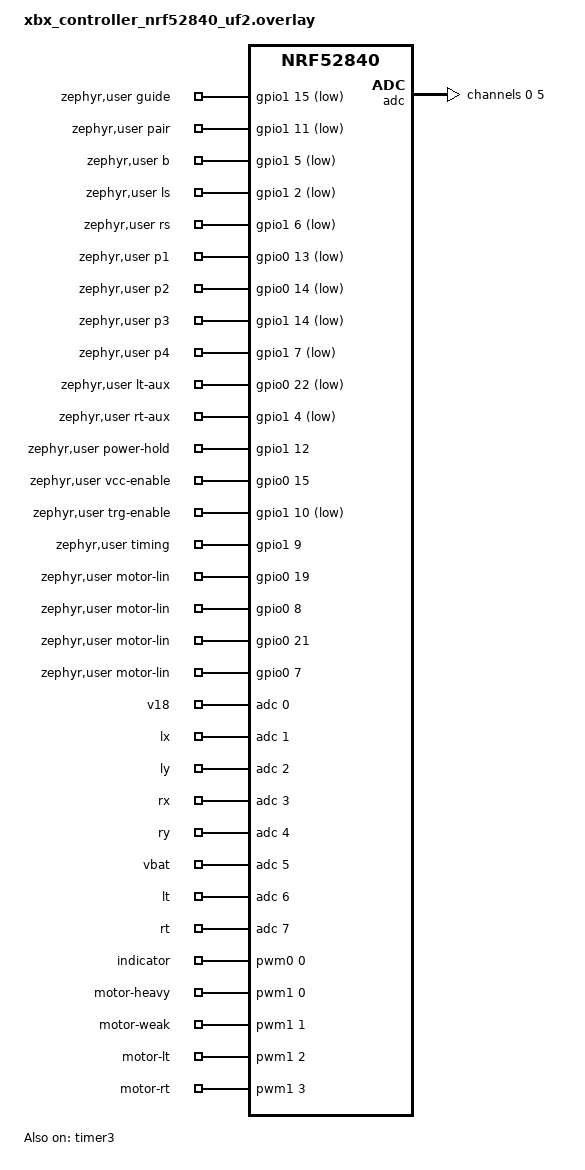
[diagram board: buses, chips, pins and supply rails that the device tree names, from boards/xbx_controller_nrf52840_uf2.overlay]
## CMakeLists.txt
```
cmake_minimum_required(VERSION 3.20.0)

# Board-independent USB functions (app.overlay is ignored when board overlays exist)
list(APPEND EXTRA_DTC_OVERLAY_FILE ${CMAKE_CURRENT_LIST_DIR}/usb.overlay)

find_package(Zephyr REQUIRED HINTS $ENV{ZEPHYR_BASE})
project(xbx_controller)

include(../common/build_id.cmake)
xbx_build_id(controller)

target_sources(app PRIVATE src/main.c src/battery.c src/pair.c src/power.c src/rumble.c src/usb.c src/xinput_wired.c ../common/src/config_usb.c ../common/src/hid_pad.c ../common/src/hid_pid.c)
target_compile_definitions(app PRIVATE XBX_DEVICE=XBX_DEVICE_CONTROLLER) # image marker
zephyr_linker_sources(RODATA ../common/image_marker.ld)
target_sources_ifndef(CONFIG_XBX_FAKE_INPUT app PRIVATE src/input.c src/calib.c src/config.c src/configurator.c src/trigger_fx.c)
dt_nodelabel(pcal6416 NODELABEL pcal6416)
if(pcal6416 AND NOT CONFIG_XBX_FAKE_INPUT)
  target_sources(app PRIVATE src/pcal6416.c)
endif()
target_include_directories(app PRIVATE ${CMAKE_CURRENT_SOURCE_DIR}/../common/include)
```

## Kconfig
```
menu "xbx-nrf controller"

config XBX_WIRED
	bool "Wired mode: be a USB gamepad while a PC has the device configured"
	default y if !XBX_FAKE_INPUT
	help
	  The radio pauses while wired; a charger alone doesn't count. Turn off
	  to test the wireless link with the USB console attached (off by
	  default with the fake input, which is for link tests).

config XBX_USB_CONSOLE
	bool "USB serial console as a composite function"
	default y
	help
	  Adds the CDC ACM serial port (log console) next to the wired-mode
	  gamepad on the controller's USB device. On for development builds.

config XBX_TX_LEAD_US
	int "Report preparation lead before the time slot (us)"
	range 100 400
	default 400
	help
	  The TX thread reads the inputs and queues the report this long
	  before its slot; the timer interrupt at the slot only starts the
	  transmission, so the send time doesn't depend on how long that work
	  took. Too short: reports miss their slot ("late" in the stats).
	  Longer: the inputs are that much older when sent. Measured on Rev1.1:
	  ~245 us typical, up to ~335 us (USB activity).

config XBX_FAKE_INPUT
	bool "Send a test pattern instead of real input"
	help
	  Sticks circle slowly, triggers ramp, and random buttons are pressed
	  and released at random intervals (seeded from the chip ID, so two
	  controllers differ). Needs no input hardware (link tests).

config XBX_LSTICK_INVERT_Y
	bool "Invert the left stick Y axis"
	depends on !XBX_FAKE_INPUT
	help
	  Report convention: up = positive. Set if the stick reads the wrong
	  way round (X: right = positive, no option; add one if needed).

config XBX_RSTICK_INVERT_Y
	bool "Invert the right stick Y axis"
	depends on !XBX_FAKE_INPUT
	help
	  As XBX_LSTICK_INVERT_Y, for the right stick.

endmenu

source "Kconfig.zephyr"
```

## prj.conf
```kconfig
# Radio: Enhanced ShockBurst
CONFIG_ESB=y
CONFIG_ESB_MAX_PAYLOAD_LENGTH=32
CONFIG_CLOCK_CONTROL=y
CONFIG_ESB_CLOCK_INIT=y

CONFIG_GPIO=y
CONFIG_COUNTER=y

CONFIG_LOG=y

# Sticks and triggers on the SAADC, one asynchronous scan per tick; rumble
# (LEDs on the breadboard) on PWM
CONFIG_ADC=y
CONFIG_ADC_ASYNC=y
CONFIG_POLL=y
CONFIG_PWM=y

# Calibration storage: settings on NVS in the storage partition
CONFIG_FLASH=y
CONFIG_FLASH_MAP=y
CONFIG_NVS=y
CONFIG_SETTINGS=y
# pairing factory reset restarts the controller
CONFIG_REBOOT=y

# USB (wired mode): our own device (usb.c) instead of the board's
# CDC-ACM-at-boot device
CONFIG_USB_DEVICE_STACK_NEXT=y
CONFIG_CDC_ACM_SERIAL_INITIALIZE_AT_BOOT=n
CONFIG_HWINFO=y
CONFIG_USBD_HID_SUPPORT=y
# the ~570-byte HID report descriptor (with PID) goes out in one control transfer
CONFIG_UDC_BUF_POOL_SIZE=2048
```

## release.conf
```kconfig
# Release builds (build.sh -r): wired gamepad only, no serial function, no logs.
CONFIG_XBX_USB_CONSOLE=n
CONFIG_LOG=n
CONFIG_NCS_BOOT_BANNER=n
CONFIG_BOOT_BANNER=n
CONFIG_PRINTK=n
CONFIG_CONSOLE=n
CONFIG_UART_CONSOLE=n
```

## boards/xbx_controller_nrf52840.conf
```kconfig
# PCAL6416 buttons: raw I2C reads (pcal6416.c), not Zephyr's GPIO driver
CONFIG_I2C=y
CONFIG_GPIO_PCAL64XXA=n

# Stick Y reads higher downwards (stock pots; recheck on the TMR sticks)
CONFIG_XBX_LSTICK_INVERT_Y=y
CONFIG_XBX_RSTICK_INVERT_Y=y
```

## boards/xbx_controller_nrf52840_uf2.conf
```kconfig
# PCAL6416 buttons: raw I2C reads (pcal6416.c), not Zephyr's GPIO driver;
# asynchronous through RTIO (the TWIM's RTIO driver), waits sleep on semaphores
CONFIG_I2C=y
CONFIG_GPIO_PCAL64XXA=n
CONFIG_I2C_RTIO=y
CONFIG_RTIO_CONSUME_SEM=y
CONFIG_RTIO_SUBMIT_SEM=y

# power-off on USB power (power.c)
CONFIG_POWEROFF=y

# Stick Y reads higher downwards (stock pots; recheck on the TMR sticks)
CONFIG_XBX_LSTICK_INVERT_Y=y
CONFIG_XBX_RSTICK_INVERT_Y=y
```

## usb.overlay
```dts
/*
 * Board-independent USB functions for wired mode, added to every build via
 * EXTRA_DTC_OVERLAY_FILE in CMakeLists.txt (app.overlay would be ignored,
 * because board overlays exist). Same reports as the dongle's HID mode.
 */

&zephyr_udc0 {
	hid_dev_0: hid_dev_0 {
		compatible = "zephyr,hid-device";
		label = "XBX-NRF Gamepad";
		protocol-code = "none";
		in-report-size = <17>;
		in-polling-period-us = <1000>;
		/*
		 * Also the OUT endpoint's max packet size: keep it above every output
		 * report so each one is a short packet that ends its transfer.
		 */
		out-report-size = <64>;
		out-polling-period-us = <1000>; /* PID uploads send several reports in a row */
	};

	/* configurator channel (config_usb.c) */
	hid_dev_1: hid_dev_1 {
		compatible = "zephyr,hid-device";
		label = "XBX-NRF Config";
		protocol-code = "none";
		in-report-size = <64>;
		in-polling-period-us = <10000>;
		out-report-size = <64>;
		out-polling-period-us = <10000>;
	};
};
```

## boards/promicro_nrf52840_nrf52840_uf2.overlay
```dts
/*
 * Pro Micro nRF52840 (nice!nano clone) breadboard controller.
 *
 * Buttons connect the pin to GND (internal pull-up). The left stick's pots
 * run from VCC to GND with the wipers on AIN0/AIN5. Rumble LEDs: heavy =
 * on-board LED (P0.15), weak = P0.31 → resistor → LED → GND.
 *
 * All 18 header GPIOs are used, so the board's I2C and UART pins are freed
 * (the console is USB CDC ACM) and the scope timing pin is gone. Pair: the
 * sideways pin P1.01 to GND (also on the fake-input board); the on-board LED
 * blinks while pairing.
 */

#include <zephyr/dt-bindings/adc/nrf-saadc.h>

#define BTN(port, pin) <&gpio##port pin (GPIO_ACTIVE_LOW | GPIO_PULL_UP)>

/ {
	zephyr,user {
		a-gpios = BTN(0, 6);
		b-gpios = BTN(0, 8);
		x-gpios = BTN(0, 20);
		y-gpios = BTN(0, 22);
		lb-gpios = BTN(0, 24);
		rb-gpios = BTN(1, 15);
		view-gpios = BTN(1, 13);
		menu-gpios = BTN(1, 11);
		dpad-up-gpios = BTN(1, 4);
		dpad-down-gpios = BTN(1, 6);
		dpad-left-gpios = BTN(0, 9);
		dpad-right-gpios = BTN(0, 10);
		pair-gpios = BTN(1, 1);
		ls-gpios = BTN(0, 17);
		lt-gpios = BTN(1, 0);
		rt-gpios = BTN(0, 11);

		/*
		 * Switched VCC pin. Active-high as on the nice!nano v2; if VCC
		 * measures 0 V, change to GPIO_ACTIVE_LOW.
		 */
		vcc-enable-gpios = <&gpio0 13 GPIO_ACTIVE_HIGH>;

		io-channels = <&adc 0>, <&adc 1>;
		io-channel-names = "lx", "ly";

		/* LEDs are active-high: normal polarity */
		pwms = <&pwm0 0 PWM_USEC(1000) PWM_POLARITY_NORMAL>,
		       <&pwm0 1 PWM_USEC(1000) PWM_POLARITY_NORMAL>,
		       <&pwm0 0 PWM_USEC(1000) PWM_POLARITY_NORMAL>;
		/* the heavy LED doubles as the pairing indicator */
		pwm-names = "heavy", "weak", "indicator";
	};
};

/* Ratiometric: gain 1/4 with a VDD/4 reference reads 0..VDD */
&adc {
	#address-cells = <1>;
	#size-cells = <0>;

	channel@0 {
		reg = <0>;
		zephyr,gain = "ADC_GAIN_1_4";
		zephyr,reference = "ADC_REF_VDD_1_4";
		zephyr,acquisition-time = <ADC_ACQ_TIME_DEFAULT>;
		zephyr,input-positive = <NRF_SAADC_AIN0>; /* P0.02 */
		zephyr,resolution = <12>;
	};

	channel@1 {
		reg = <1>;
		zephyr,gain = "ADC_GAIN_1_4";
		zephyr,reference = "ADC_REF_VDD_1_4";
		zephyr,acquisition-time = <ADC_ACQ_TIME_DEFAULT>;
		zephyr,input-positive = <NRF_SAADC_AIN5>; /* P0.29 */
		zephyr,resolution = <12>;
	};
};

&pwm0_default {
	group1 {
		psels = <NRF_PSEL(PWM_OUT0, 0, 15)>,
			<NRF_PSEL(PWM_OUT1, 0, 31)>;
	};
};

&pwm0_sleep {
	group1 {
		psels = <NRF_PSEL(PWM_OUT0, 0, 15)>,
			<NRF_PSEL(PWM_OUT1, 0, 31)>;
		low-power-enable;
	};
};

/* their pins are buttons here (M3 brings I2C back for the PCAL6416) */
&i2c0 {
	status = "disabled";
};

&i2c1 {
	status = "disabled";
};

&uart0 {
	status = "disabled";
};

/* 1 kHz report timer (TIMER2 is used by ESB) */
&timer3 {
	status = "okay";
};
```

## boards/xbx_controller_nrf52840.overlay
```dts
/*
 * xbx-nrf controller (custom board, boards/xbx/xbx_controller/). Buttons on
 * GPIOs here, the rest on the PCAL6416 (board node pcal6416); sticks and
 * triggers on the SAADC (docs/hardware.md, "Analog inputs"); rumble on pwm1.
 * The board's console is the J3 UART; the app moves it to a USB serial
 * function, as on the Pro Micro.
 */

#include <zephyr/dt-bindings/adc/nrf-saadc.h>
#include <../boards/common/usb/cdc_acm_serial.dtsi>

/ {
	zephyr,user {
		/* no pull-ups on the board: Guide, Pair via diodes, B/LS/RS via 1 kΩ */
		guide-gpios = <&gpio1 15 (GPIO_ACTIVE_LOW | GPIO_PULL_UP)>;
		pair-gpios = <&gpio1 11 (GPIO_ACTIVE_LOW | GPIO_PULL_UP)>;
		b-gpios = <&gpio1 5 (GPIO_ACTIVE_LOW | GPIO_PULL_UP)>;
		ls-gpios = <&gpio1 2 (GPIO_ACTIVE_LOW | GPIO_PULL_UP)>;
		rs-gpios = <&gpio1 6 (GPIO_ACTIVE_LOW | GPIO_PULL_UP)>;

		/* J2 pin 9 (board gpio-hog raises it); low = off once Guide is up */
		power-hold-gpios = <&gpio1 12 GPIO_ACTIVE_HIGH>;

		/* 1V8_STICK (U4 EN, 100 kΩ pull-down): on while running */
		vcc-enable-gpios = <&gpio0 15 GPIO_ACTIVE_HIGH>;

		/* TRG+ (Q1 gate, pull-up): on around each sample */
		trg-enable-gpios = <&gpio1 10 GPIO_ACTIVE_LOW>;

		/* channel n = AINn */
		io-channels = <&adc 0>, <&adc 1>, <&adc 2>, <&adc 3>, <&adc 4>,
			      <&adc 5>, <&adc 6>, <&adc 7>;
		io-channel-names = "v18", "rt", "ly", "lx", "lt", "ry", "vbat", "rx";

		/* scope timing pin (TP4) */
		timing-gpios = <&gpio1 9 GPIO_ACTIVE_HIGH>;

		/*
		 * pairing indicator: the Guide LED; outside pairing solid while
		 * linked, slow blink while searching
		 */
		pwms = <&pwm0 0 PWM_MSEC(1) PWM_POLARITY_NORMAL>,
		       <&pwm1 0 PWM_USEC(40) PWM_POLARITY_NORMAL>,
		       <&pwm1 1 PWM_USEC(40) PWM_POLARITY_NORMAL>,
		       <&pwm1 2 PWM_USEC(40) PWM_POLARITY_NORMAL>,
		       <&pwm1 3 PWM_USEC(40) PWM_POLARITY_NORMAL>;
		pwm-names = "indicator", "motor-heavy", "motor-weak", "motor-lt",
			    "motor-rt";
		indicator-idle;

		/* rumble: HIN above at 25 kHz (A3910 needs >= 20 kHz), LIN here */
		motor-lin-gpios = <&gpio0 19 GPIO_ACTIVE_HIGH>,
				  <&gpio0 8 GPIO_ACTIVE_HIGH>,
				  <&gpio0 21 GPIO_ACTIVE_HIGH>,
				  <&gpio0 7 GPIO_ACTIVE_HIGH>;
	};
};

/*
 * Sticks: internal 0.6 V reference, gain 1/3 (0..1.8 V), read as a ratio to
 * v18 (gain 1/4, so 1.8 V doesn't clip; input.c's RAIL_GAIN_*). Triggers:
 * VDD/4 reference, gain 1/4 (0..VDD, ratiometric like the A1304).
 */
#define STICK_CH(n)                                                               \
	channel@n {                                                               \
		reg = <n>;                                                        \
		zephyr,gain = "ADC_GAIN_1_3";                                     \
		zephyr,reference = "ADC_REF_INTERNAL";                            \
		zephyr,acquisition-time = <ADC_ACQ_TIME_DEFAULT>;                 \
		zephyr,input-positive = <NRF_SAADC_AIN##n>;                       \
		zephyr,resolution = <12>;                                         \
	}

#define TRIGGER_CH(n)                                                             \
	channel@n {                                                               \
		reg = <n>;                                                        \
		zephyr,gain = "ADC_GAIN_1_4";                                     \
		zephyr,reference = "ADC_REF_VDD_1_4";                             \
		zephyr,acquisition-time = <ADC_ACQ_TIME_DEFAULT>;                 \
		zephyr,input-positive = <NRF_SAADC_AIN##n>;                       \
		zephyr,resolution = <12>;                                         \
	}

&adc {
	#address-cells = <1>;
	#size-cells = <0>;

	/* 1V8_STICK */
	channel@0 {
		reg = <0>;
		zephyr,gain = "ADC_GAIN_1_4";
		zephyr,reference = "ADC_REF_INTERNAL";
		zephyr,acquisition-time = <ADC_ACQ_TIME_DEFAULT>;
		zephyr,input-positive = <NRF_SAADC_AIN0>;
		zephyr,resolution = <12>;
	};

	TRIGGER_CH(1); /* RT */
	STICK_CH(2);   /* LS_Y */
	STICK_CH(3);   /* LS_X */
	TRIGGER_CH(4); /* LT */
	STICK_CH(5);   /* RS_Y */
	STICK_CH(7);   /* RS_X */

	/* VBAT (3v/B+): 0..3.6 V, read alone by battery.c */
	channel@6 {
		reg = <6>;
		zephyr,gain = "ADC_GAIN_1_6";
		zephyr,reference = "ADC_REF_INTERNAL";
		zephyr,acquisition-time = <ADC_ACQ_TIME_DEFAULT>;
		zephyr,input-positive = <NRF_SAADC_AIN6>;
		zephyr,resolution = <12>;
	};
};

/* 1 kHz report timer (TIMER2 is used by ESB) */
&timer3 {
	status = "okay";
};
```

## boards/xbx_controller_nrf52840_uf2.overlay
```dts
/*
 * xbx-nrf controller (custom board, boards/xbx/xbx_controller/). Buttons on
 * GPIOs here, the rest on the PCAL6416 (board node pcal6416); sticks and
 * triggers on the SAADC (docs/hardware.md, "Analog inputs"); rumble on pwm1.
 * The board's console is the J3 UART; the app moves it to a USB serial
 * function, as on the Pro Micro.
 */

#include <zephyr/dt-bindings/adc/nrf-saadc.h>
#include <../boards/common/usb/cdc_acm_serial.dtsi>

/ {
	zephyr,user {
		/* no pull-ups on the board: Guide, Pair via diodes, B/LS/RS via 1 kΩ */
		guide-gpios = <&gpio1 15 (GPIO_ACTIVE_LOW | GPIO_PULL_UP)>;
		pair-gpios = <&gpio1 11 (GPIO_ACTIVE_LOW | GPIO_PULL_UP)>;
		b-gpios = <&gpio1 5 (GPIO_ACTIVE_LOW | GPIO_PULL_UP)>;
		ls-gpios = <&gpio1 2 (GPIO_ACTIVE_LOW | GPIO_PULL_UP)>;
		rs-gpios = <&gpio1 6 (GPIO_ACTIVE_LOW | GPIO_PULL_UP)>;

		/*
		 * switch pads to GND, nothing fitted yet. Paddles, held face-up:
		 * P1 left upper, P2 left lower, P3 right upper, P4 right lower.
		 */
		p1-gpios = <&gpio0 13 (GPIO_ACTIVE_LOW | GPIO_PULL_UP)>; /* AUX2, TP10 */
		p2-gpios = <&gpio0 14 (GPIO_ACTIVE_LOW | GPIO_PULL_UP)>; /* AUX1, TP9 */
		p3-gpios = <&gpio1 14 (GPIO_ACTIVE_LOW | GPIO_PULL_UP)>; /* AUX3, TP11 */
		p4-gpios = <&gpio1 7 (GPIO_ACTIVE_LOW | GPIO_PULL_UP)>;  /* AUX4, TP12 */
		lt-aux-gpios = <&gpio0 22 (GPIO_ACTIVE_LOW | GPIO_PULL_UP)>;
		rt-aux-gpios = <&gpio1 4 (GPIO_ACTIVE_LOW | GPIO_PULL_UP)>;

		/* J2 pin 9 (board gpio-hog raises it); low = off once Guide is up */
		power-hold-gpios = <&gpio1 12 GPIO_ACTIVE_HIGH>;

		/* 1V8_STICK (U4 EN, 100 kΩ pull-down): on while running */
		vcc-enable-gpios = <&gpio0 15 GPIO_ACTIVE_HIGH>;

		/* TRG+ (Q1 gate, pull-up): on around each sample */
		trg-enable-gpios = <&gpio1 10 GPIO_ACTIVE_LOW>;

		/* channel n = AINn */
		io-channels = <&adc 0>, <&adc 1>, <&adc 2>, <&adc 3>, <&adc 4>,
			      <&adc 5>, <&adc 6>, <&adc 7>;
		io-channel-names = "v18", "lx", "ly", "rx", "ry", "vbat", "lt", "rt";

		/* scope timing pin (TP4) */
		timing-gpios = <&gpio1 9 GPIO_ACTIVE_HIGH>;

		/*
		 * pairing indicator: the Guide LED; outside pairing solid while
		 * linked, slow blink while searching
		 */
		pwms = <&pwm0 0 PWM_MSEC(1) PWM_POLARITY_NORMAL>,
		       <&pwm1 0 PWM_USEC(40) PWM_POLARITY_NORMAL>,
		       <&pwm1 1 PWM_USEC(40) PWM_POLARITY_NORMAL>,
		       <&pwm1 2 PWM_USEC(40) PWM_POLARITY_NORMAL>,
		       <&pwm1 3 PWM_USEC(40) PWM_POLARITY_NORMAL>;
		pwm-names = "indicator", "motor-heavy", "motor-weak", "motor-lt",
			    "motor-rt";
		indicator-idle;

		/* rumble: HIN above at 25 kHz (A3910 needs >= 20 kHz), LIN here */
		motor-lin-gpios = <&gpio0 19 GPIO_ACTIVE_HIGH>,
				  <&gpio0 8 GPIO_ACTIVE_HIGH>,
				  <&gpio0 21 GPIO_ACTIVE_HIGH>,
				  <&gpio0 7 GPIO_ACTIVE_HIGH>;
	};
};

/*
 * Sticks: internal 0.6 V reference, gain 1/3 (0..1.8 V), read as a ratio to
 * v18 (gain 1/4, so 1.8 V doesn't clip; input.c's RAIL_GAIN_*). Triggers:
 * VDD/4 reference, gain 1/4 (0..VDD, ratiometric like the A1304).
 *
 * One scan per tick, in channel (reg) order, all at 3 µs (~40 µs in all):
 * every input has 100 nF at the pin, which holds the sampling charge, so the
 * source impedance doesn't matter. The trigger supply comes on from a timer
 * alarm before the scan (the A1304 needs 50–70 µs: main.c's TRG_LEAD_US).
 */
#define ACQ_3US ADC_ACQ_TIME(ADC_ACQ_TIME_MICROSECONDS, 3)
#define STICK_CH(n, ain)                                                          \
	channel@n {                                                               \
		reg = <n>;                                                        \
		zephyr,gain = "ADC_GAIN_1_3";                                     \
		zephyr,reference = "ADC_REF_INTERNAL";                            \
		zephyr,acquisition-time = <ACQ_3US>;                              \
		zephyr,input-positive = <NRF_SAADC_AIN##ain>;                     \
		zephyr,resolution = <12>;                                         \
	}

#define TRIGGER_CH(n, ain)                                                        \
	channel@n {                                                               \
		reg = <n>;                                                        \
		zephyr,gain = "ADC_GAIN_1_4";                                     \
		zephyr,reference = "ADC_REF_VDD_1_4";                             \
		zephyr,acquisition-time = <ACQ_3US>;                              \
		zephyr,input-positive = <NRF_SAADC_AIN##ain>;                     \
		zephyr,resolution = <12>;                                         \
	}

&adc {
	#address-cells = <1>;
	#size-cells = <0>;

	/* 1V8_STICK */
	channel@0 {
		reg = <0>;
		zephyr,gain = "ADC_GAIN_1_4";
		zephyr,reference = "ADC_REF_INTERNAL";
		zephyr,acquisition-time = <ACQ_3US>;
		zephyr,input-positive = <NRF_SAADC_AIN0>;
		zephyr,resolution = <12>;
	};

	STICK_CH(1, 3); /* LS_X */
	STICK_CH(2, 2); /* LS_Y */
	STICK_CH(3, 7); /* RS_X */
	STICK_CH(4, 5); /* RS_Y */

	/* VBAT (3v/B+): 0..3.6 V, in the same scan (battery.c takes it) */
	channel@5 {
		reg = <5>;
		zephyr,gain = "ADC_GAIN_1_6";
		zephyr,reference = "ADC_REF_INTERNAL";
		zephyr,acquisition-time = <ACQ_3US>;
		zephyr,input-positive = <NRF_SAADC_AIN6>;
		zephyr,resolution = <12>;
	};

	TRIGGER_CH(6, 4); /* LT */
	TRIGGER_CH(7, 1); /* RT */
};

/* 1 kHz report timer (TIMER2 is used by ESB) */
&timer3 {
	status = "okay";
};
```

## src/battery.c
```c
/*
 * Battery monitoring (see battery.h). VBAT is sampled every SAMPLE_MS once the
 * motors have been off for SETTLE_MS (rumble sags it), and low-pass filtered.
 * The level comes from a typical 2× NiMH curve and only goes down while on
 * batteries (a battery change means a power cycle). Below EMPTY_MV for LOW_MS:
 * power off (not on USB).
 */

#include <zephyr/drivers/adc.h>
#include <zephyr/logging/log.h>
#include <hal/nrf_power.h>

#include "battery.h"
#include "input.h"
#include "power.h"
#include "rumble.h"

LOG_MODULE_REGISTER(battery, LOG_LEVEL_INF);

#define SAMPLE_MS  100
#define SETTLE_MS  300     /* after the motors stop */
#define RUMBLE_MIN_PCT 25  /* below: no rumble */
#define FILTER_SHIFT 4     /* ~1.6 s */
#define EMPTY_MV   2000    /* 1.0 V per NiMH cell */
#define LOW_MS     10000   /* below EMPTY_MV this long: power off */
#define SENSE_MIN_MV 1500  /* lower can't be running AAs: sense fault, ignore */

#define ZEPHYR_USER DT_PATH(zephyr_user)
/* read in input.c's scan: none with the fake input */
#define HAS_VBAT    (DT_PROP_HAS_NAME(ZEPHYR_USER, io_channels, vbat) && \
		     !IS_ENABLED(CONFIG_XBX_FAKE_INPUT))

#define UNKNOWN 0xFF

#if HAS_VBAT
static const struct adc_dt_spec vbat = ADC_DT_SPEC_GET_BY_NAME(ZEPHYR_USER, vbat);

/*
 * mV → %, linear between points: typical low self-discharge NiMH (Eneloop
 * class) at a light load, per cell ×2. Flat from 70 to 30 %: coarse there.
 */
static const struct {
	uint16_t mv;
	uint8_t pct;
} curve[] = {
	{EMPTY_MV, 0}, {2240, 5}, {2360, 15}, {2420, 30}, {2460, 50},
	{2500, 70}, {2540, 85}, {2600, 95}, {2720, 100},
};

static uint32_t mv_q4; /* filtered, mV << FILTER_SHIFT; 0 = no reading yet */
static uint32_t since_ms;
static uint32_t quiet_ms; /* motors off this long */
static uint32_t low_ms;
static uint8_t level = UNKNOWN;
static bool on_usb;
static bool fault_logged;

static uint8_t mv_to_pct(uint32_t mv)
{
	if (mv <= curve[0].mv) {
		return 0;
	}
	for (int i = 1; i < ARRAY_SIZE(curve); i++) {
		if (mv < curve[i].mv) {
			uint32_t span = curve[i].mv - curve[i - 1].mv;

			return curve[i - 1].pct +
			       (mv - curve[i - 1].mv) * (curve[i].pct - curve[i - 1].pct) / span;
		}
	}
	return 100;
}

/* the last scan's value (the channel's gain and reference: the overlay) */
static int read_mv(int32_t *mv)
{
	int16_t raw;

	if (!input_vbat_raw(&raw)) {
		return -ENODATA;
	}
	*mv = raw;
	return adc_raw_to_millivolts_dt(&vbat, mv);
}
#endif

int battery_init(void)
{
#if HAS_VBAT
	/* the channel is set up by input.c, which scans it */
	return adc_is_ready_dt(&vbat) ? 0 : -ENODEV;
#else
	return 0;
#endif
}

uint8_t battery_tick(uint32_t elapsed_ms)
{
#if HAS_VBAT
	int32_t mv;
	bool usb = nrf_power_usbregstatus_vbusdet_get(NRF_POWER);

	if (usb != on_usb) {
		/* the rail changed source: start over */
		on_usb = usb;
		mv_q4 = 0;
		low_ms = 0;
		level = UNKNOWN;
	}
	quiet_ms = rumble_active() ? 0 : MIN(quiet_ms + elapsed_ms, SETTLE_MS);
	since_ms += elapsed_ms;
	if (since_ms < SAMPLE_MS || quiet_ms < SETTLE_MS) {
		return level;
	}
	since_ms = 0;

	if (read_mv(&mv)) {
		return level;
	}
	if (mv < SENSE_MIN_MV) {
		if (!fault_logged) {
			LOG_WRN("VBAT reads %d mV: sense fault?", mv);
			fault_logged = true;
		}
		mv_q4 = 0;
		low_ms = 0;
		level = UNKNOWN;
		return level;
	}
	if (mv_q4 == 0) {
		mv_q4 = (uint32_t)mv << FILTER_SHIFT;
	} else {
		mv_q4 += mv - (int32_t)(mv_q4 >> FILTER_SHIFT);
	}
	mv = mv_q4 >> FILTER_SHIFT;

	if (usb) {
		/* rail from USB, AAs disconnected: show full, measure for the log */
		level = 100;
		return level;
	}
	uint8_t pct = mv_to_pct(mv);

	if (level != UNKNOWN && level >= RUMBLE_MIN_PCT && pct < RUMBLE_MIN_PCT) {
		LOG_INF("battery %u %%: rumble off", pct);
	}
	level = (level == UNKNOWN) ? pct : MIN(level, pct);

	if (mv < EMPTY_MV) {
		low_ms += SAMPLE_MS;
		if (low_ms >= LOW_MS) {
			LOG_WRN("battery empty: %d mV", mv);
			power_off("battery empty");
		}
	} else {
		low_ms = 0;
	}
	return level;
#else
	ARG_UNUSED(elapsed_ms);
	return UNKNOWN;
#endif
}

bool battery_rumble_ok(void)
{
#if HAS_VBAT
	return level == UNKNOWN || level >= RUMBLE_MIN_PCT;
#else
	return true;
#endif
}

uint16_t battery_mv(void)
{
#if HAS_VBAT
	return mv_q4 >> FILTER_SHIFT;
#else
	return 0;
#endif
}
```

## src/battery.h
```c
/*
 * Battery monitoring on boards with a VBAT input (zephyr,user io-channel
 * "vbat"; 3v/B+, the switched AA rail). Low battery powers off. On USB power
 * the rail comes from USB: full. Without the input: unknown. The reading
 * comes from input.c's scan (one ADC sequence for everything), so the fake
 * input build has none.
 */

#ifndef XBX_CTRL_BATTERY_H_
#define XBX_CTRL_BATTERY_H_

#include <stdbool.h>
#include <stdint.h>

int battery_init(void);

/* Call every report tick (TX thread). Returns 0..100 %, 0xFF = unknown. */
uint8_t battery_tick(uint32_t elapsed_ms);

/* Enough charge for rumble (RUMBLE_MIN_PCT, or the level is unknown). */
bool battery_rumble_ok(void);

/* Filtered rail voltage, 0 = unknown (for the log). */
uint16_t battery_mv(void);

#endif /* XBX_CTRL_BATTERY_H_ */
```

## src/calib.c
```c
/*
 * Calibration storage (see calib.h). One settings entry holds the whole
 * struct; a different version or size is ignored (recalibrate after a layout
 * change).
 */

#include <zephyr/kernel.h>
#include <zephyr/logging/log.h>
#include <zephyr/settings/settings.h>
#include <zephyr/spinlock.h>

#include <string.h>

#include "calib.h"

LOG_MODULE_REGISTER(calib, LOG_LEVEL_INF);

#define CALIB_VERSION 1
#define CALIB_KEY     "calib/data"

static struct calib_data stored;
static bool have_stored;
static struct calib_data to_save;
static bool erase_pending;
static struct k_spinlock lock;

static int calib_set(const char *name, size_t len, settings_read_cb read_cb, void *cb_arg)
{
	struct calib_data data;
	ssize_t n;

	if (strcmp(name, "data") != 0) {
		return -ENOENT;
	}
	if (len != sizeof(data)) {
		LOG_WRN("stored calibration has size %zu, expected %zu: ignored", len,
			sizeof(data));
		return 0;
	}
	n = read_cb(cb_arg, &data, sizeof(data));
	if (n != sizeof(data)) {
		return n < 0 ? n : -EIO;
	}
	if (data.version != CALIB_VERSION) {
		LOG_WRN("stored calibration version %u, expected %u: ignored", data.version,
			CALIB_VERSION);
		return 0;
	}
	stored = data;
	have_stored = true;
	return 0;
}

SETTINGS_STATIC_HANDLER_DEFINE(calib, "calib", NULL, calib_set, NULL, NULL);

int calib_init(void)
{
	int err = settings_subsys_init();

	if (err) {
		return err;
	}
	err = settings_load_subtree("calib");
	if (err) {
		return err;
	}
	if (have_stored) {
		LOG_INF("calibration loaded (axes 0x%02x)", stored.valid);
	} else {
		LOG_INF("no calibration stored");
	}
	return 0;
}

bool calib_get(struct calib_data *out)
{
	k_spinlock_key_t key = k_spin_lock(&lock);
	bool ok = have_stored;

	if (ok) {
		*out = stored;
	}
	k_spin_unlock(&lock, key);
	return ok;
}

static void save_work_fn(struct k_work *work)
{
	struct calib_data data;
	bool erase;
	int err;
	k_spinlock_key_t key = k_spin_lock(&lock);

	ARG_UNUSED(work);
	data = to_save;
	erase = erase_pending;
	k_spin_unlock(&lock, key);

	if (erase) {
		err = settings_delete(CALIB_KEY);
	} else {
		err = settings_save_one(CALIB_KEY, &data, sizeof(data));
	}
	if (err) {
		LOG_ERR("calibration %s failed: %d", erase ? "erase" : "save", err);
		return;
	}

	key = k_spin_lock(&lock);
	have_stored = !erase;
	if (!erase) {
		stored = data;
	}
	k_spin_unlock(&lock, key);
	LOG_INF("calibration %s", erase ? "erased" : "saved");
}

static K_WORK_DEFINE(save_work, save_work_fn);

void calib_save(const struct calib_data *data)
{
	k_spinlock_key_t key = k_spin_lock(&lock);

	to_save = *data;
	to_save.version = CALIB_VERSION;
	erase_pending = false;
	k_spin_unlock(&lock, key);
	k_work_submit(&save_work);
}

void calib_erase(void)
{
	k_spinlock_key_t key = k_spin_lock(&lock);

	erase_pending = true;
	k_spin_unlock(&lock, key);
	k_work_submit(&save_work);
}
```

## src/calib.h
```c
/*
 * Stick and trigger calibration, stored in flash (Zephyr settings on NVS,
 * key "calib/data"). Values are raw ADC counts, so the data is independent of
 * the board's ADC setup; the layout is versioned.
 */

#ifndef XBX_CTRL_CALIB_H_
#define XBX_CTRL_CALIB_H_

#include <stdbool.h>
#include <stdint.h>

enum calib_axis_id {
	CALIB_LX,
	CALIB_LY,
	CALIB_RX,
	CALIB_RY,
	CALIB_LT, /* triggers: centre unused */
	CALIB_RT,
	CALIB_AXES,
};

#define CALIB_FLAG_INVERT 0x01

struct calib_axis {
	int16_t min;
	int16_t center;
	int16_t max;
	uint8_t flags; /* CALIB_FLAG_* */
	uint8_t reserved;
};

struct calib_data {
	uint8_t version;
	uint8_t valid; /* bit per enum calib_axis_id */
	uint8_t reserved[2];
	struct calib_axis axis[CALIB_AXES];
};

/* Start settings and load the stored calibration, if any. */
int calib_init(void);

/* Copy the stored calibration; false if there is none. */
bool calib_get(struct calib_data *out);

/* Store (or erase) the calibration. Runs on the system work queue; flash
 * erases stall the CPU for tens of ms, so never call from time-critical code
 * that must not wait (these only queue the work).
 */
void calib_save(const struct calib_data *data);
void calib_erase(void);

#endif /* XBX_CTRL_CALIB_H_ */
```

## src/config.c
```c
/*
 * User settings storage (see config.h). Same pattern as calib.c: the whole
 * struct is one settings entry, written from the system work queue.
 */

#include <zephyr/kernel.h>
#include <zephyr/logging/log.h>
#include <zephyr/settings/settings.h>
#include <zephyr/spinlock.h>
#include <zephyr/sys/byteorder.h>

#include <string.h>

#include "config.h"
#include "pair.h"
#include "protocol.h"

LOG_MODULE_REGISTER(config, LOG_LEVEL_INF);

#define CFG_VERSION 1
#define CFG_KEY     "config/data"
#define SAVE_DELAY  K_SECONDS(1)

/* any one XBX_BTN_* or a combination; bit 11 is unused */
#define BINDABLE (0xFFFFu & ~BIT(11))

static const struct config_data defaults = {
	.version = CFG_VERSION,
	.trigger_full = {INPUT_TRG_FULL_DEFAULT, INPUT_TRG_FULL_DEFAULT},
	.paddles = {
		.enabled = true,
		.xinput = {XBX_BTN_A, XBX_BTN_B, XBX_BTN_X, XBX_BTN_Y},
	},
	.trigger_fx = TRIGGER_FX_DEFAULTS,
};

static struct config_data current;
static bool loaded;
static bool erase_pending;
static struct k_spinlock lock;

static int cfg_load(const char *name, size_t len, settings_read_cb read_cb, void *cb_arg)
{
	struct config_data data = defaults; /* fields an older entry lacks */
	ssize_t n;

	if (strcmp(name, "data") != 0) {
		return -ENOENT;
	}
	if (len < CONFIG_DATA_MIN_SIZE || len > sizeof(data)) {
		LOG_WRN("stored config has size %zu, expected %zu: ignored", len, sizeof(data));
		return 0;
	}
	n = read_cb(cb_arg, &data, len);
	if (n != (ssize_t)len) {
		return n < 0 ? n : -EIO;
	}
	if (data.version != CFG_VERSION) {
		LOG_WRN("stored config version %u, expected %u: ignored", data.version,
			CFG_VERSION);
		return 0;
	}
	current = data;
	loaded = true;
	return 0;
}

SETTINGS_STATIC_HANDLER_DEFINE(config, "config", NULL, cfg_load, NULL, NULL);

int config_init(void)
{
	int err;

	current = defaults;
	err = settings_subsys_init();
	if (!err) {
		err = settings_load_subtree("config");
	}
	LOG_INF("%s", loaded ? "config loaded" : "no config stored: defaults");
	for (int t = 0; t < 2; t++) {
		if (current.trigger_full[t] < INPUT_TRG_FULL_MIN || current.trigger_full[t] > 100) {
			current.trigger_full[t] = INPUT_TRG_FULL_DEFAULT; /* older entry: 0 */
		}
	}
	if (current.trigger_fx.click_ms < TRIGGER_FX_CLICK_MS_MIN ||
	    current.trigger_fx.click_ms > TRIGGER_FX_CLICK_MS_MAX) {
		current.trigger_fx.click_ms = 30; /* 0.8.2 test builds: 0 */
	}
	if (current.led_dim == 255) {
		current.led_dim = 254; /* level 0 (an earlier build): lowest level, not off */
	}
	input_paddle_config_set(&current.paddles);
	input_trigger_full_set(current.trigger_full);
	pair_indicator_level(255 - current.led_dim);
	trigger_fx_set(&current.trigger_fx);
	return err;
}

void config_get(struct config_data *out)
{
	k_spinlock_key_t key = k_spin_lock(&lock);

	*out = current;
	k_spin_unlock(&lock, key);
}

static void save_work_fn(struct k_work *work)
{
	struct config_data data;
	bool erase;
	int err;
	k_spinlock_key_t key = k_spin_lock(&lock);

	ARG_UNUSED(work);
	data = current;
	erase = erase_pending;
	k_spin_unlock(&lock, key);

	if (erase) {
		err = settings_delete(CFG_KEY);
	} else {
		err = settings_save_one(CFG_KEY, &data, sizeof(data));
	}
	if (err) {
		LOG_ERR("config %s failed: %d", erase ? "erase" : "save", err);
		return;
	}
	LOG_INF("config %s", erase ? "erased" : "saved");
}

static K_WORK_DELAYABLE_DEFINE(save_work, save_work_fn);

static void apply(const struct config_data *cfg, bool erase)
{
	k_spinlock_key_t key = k_spin_lock(&lock);

	current = *cfg;
	current.version = CFG_VERSION;
	erase_pending = erase;
	k_spin_unlock(&lock, key);
	input_paddle_config_set(&cfg->paddles);
	input_trigger_full_set(cfg->trigger_full);
	pair_indicator_level(255 - cfg->led_dim);
	trigger_fx_set(&cfg->trigger_fx);
	k_work_reschedule(&save_work, SAVE_DELAY);
}

void config_set(const struct config_data *cfg)
{
	apply(cfg, false);
}

void config_reset(void)
{
	apply(&defaults, true);
}

void config_flush(void)
{
	if (k_work_delayable_is_pending(&save_work)) {
		k_work_cancel_delayable(&save_work);
		save_work_fn(NULL);
	}
}

int config_setting_get(uint8_t id, uint8_t *value, size_t size)
{
	struct config_data cfg;

	config_get(&cfg);
	switch (id) {
	case CFG_SETTING_PADDLES:
		value[0] = cfg.paddles.enabled;
		return 1;
	case CFG_SETTING_BINDINGS:
		if (size < 2 * INPUT_PADDLES) {
			return -EINVAL;
		}
		for (size_t i = 0; i < INPUT_PADDLES; i++) {
			sys_put_le16(cfg.paddles.xinput[i], &value[2 * i]);
		}
		return 2 * INPUT_PADDLES;
	case CFG_SETTING_LED:
		value[0] = 255 - cfg.led_dim;
		return 1;
	case CFG_SETTING_TRG_FULL:
		memcpy(value, cfg.trigger_full, sizeof(cfg.trigger_full));
		return sizeof(cfg.trigger_full);
	case CFG_SETTING_TRG_FX:
		if (size < sizeof(cfg.trigger_fx)) {
			return -EINVAL;
		}
		memcpy(value, &cfg.trigger_fx, sizeof(cfg.trigger_fx));
		return sizeof(cfg.trigger_fx);
	default:
		return -ENOTSUP;
	}
}

int config_setting_set(uint8_t id, const uint8_t *value, size_t len)
{
	struct config_data cfg;

	config_get(&cfg);
	switch (id) {
	case CFG_SETTING_PADDLES:
		if (len < 1 || value[0] > 1) {
			return -EINVAL;
		}
		cfg.paddles.enabled = value[0];
		break;
	case CFG_SETTING_BINDINGS:
		if (len < 2 * INPUT_PADDLES) {
			return -EINVAL;
		}
		for (size_t i = 0; i < INPUT_PADDLES; i++) {
			uint16_t b = sys_get_le16(&value[2 * i]);

			if (b & ~BINDABLE) {
				return -EINVAL;
			}
			cfg.paddles.xinput[i] = b;
		}
		break;
	case CFG_SETTING_LED:
		if (len < 1 || value[0] == 0) {
			return -EINVAL;
		}
		cfg.led_dim = 255 - value[0];
		break;
	case CFG_SETTING_TRG_FULL:
		for (int t = 0; t < 2; t++) {
			if (value[t] < INPUT_TRG_FULL_MIN || value[t] > 100) {
				return -EINVAL;
			}
			cfg.trigger_full[t] = value[t];
		}
		break;
	case CFG_SETTING_TRG_FX: {
		struct trigger_fx_config fx;

		if (len < sizeof(fx)) {
			return -EINVAL;
		}
		memcpy(&fx, value, sizeof(fx));
		if ((fx.flags & ~(TRIGGER_FX_CLICK | TRIGGER_FX_RUMBLE)) || fx.click == 0 ||
		    fx.from_heavy > 100 || fx.from_weak > 100 || fx.threshold == 0 ||
		    fx.threshold > 100 || fx.click_ms < TRIGGER_FX_CLICK_MS_MIN ||
		    fx.click_ms > TRIGGER_FX_CLICK_MS_MAX) {
			return -EINVAL;
		}
		cfg.trigger_fx = fx;
		break;
	}
	default:
		return -ENOTSUP;
	}
	config_set(&cfg);
	return 0;
}
```

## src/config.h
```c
/*
 * User settings from the configurator, stored in flash (Zephyr settings,
 * key "config/data"). One versioned struct; new fields go at the end, so a
 * shorter (older) entry loads with defaults for the rest. A different version
 * or a longer entry is ignored and the defaults apply.
 */

#ifndef XBX_CTRL_CONFIG_H_
#define XBX_CTRL_CONFIG_H_

#include <stdint.h>

#include <stddef.h>

#include "config_usb.h"
#include "input.h"
#include "trigger_fx.h"

/* configurator setting ids (docs/configurator.md, "Settings") */
#define CFG_SETTING_PADDLES  0x01
#define CFG_SETTING_BINDINGS 0x02
#define CFG_SETTING_LED      CFG_USB_SETTING_LED
#define CFG_SETTING_TRG_FULL 0x05
#define CFG_SETTING_TRG_FX   0x07

struct config_data {
	uint8_t version;
	uint8_t trigger_full[2]; /* LT, RT full pull threshold, %; 0 (older entry): default */
	uint8_t led_dim; /* Guide LED: 255 - level (1–255), so an older entry's 0 is full */
	struct input_paddle_config paddles;
	struct trigger_fx_config trigger_fx; /* from 0.8.2 */
};

/* the shortest entry that loads: up to the paddles (0.8.1 and older) */
#define CONFIG_DATA_MIN_SIZE offsetof(struct config_data, trigger_fx)

/* Load the stored config (or the defaults) and apply it. */
int config_init(void);

void config_get(struct config_data *out);

/*
 * Apply now and save on the system work queue 1 s after the last change
 * (flash writes stall the CPU; a slider doesn't wear the flash).
 */
void config_set(const struct config_data *cfg);

/* Apply the defaults and erase the stored entry. */
void config_reset(void);

/* Write a pending change now (before a reset or power-off). */
void config_flush(void);

/* Configurator settings (struct config_usb_app's get and set): paddles,
 * bindings, LED brightness, trigger full pull thresholds, trigger effects. */
int config_setting_get(uint8_t id, uint8_t *value, size_t size);
int config_setting_set(uint8_t id, const uint8_t *value, size_t len);

#endif /* XBX_CTRL_CONFIG_H_ */
```

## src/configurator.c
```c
/*
 * Configurator commands on the controller (see configurator.h). Commands run
 * on the system work queue; the stream and the rumble test run on the TX
 * thread and share their state through atomics.
 */

#include <zephyr/kernel.h>
#include <zephyr/logging/log.h>
#include <zephyr/spinlock.h>
#include <zephyr/sys/byteorder.h>

#include <string.h>

#include "battery.h"
#include "calib.h"
#include "config.h"
#include "config_usb.h"
#include "configurator.h"
#include "input.h"
#include "pair.h"
#include "protocol.h"
#include "usb.h"

LOG_MODULE_REGISTER(configurator, LOG_LEVEL_INF);

#define STREAM_MAX_HZ   100
#define RUMBLE_MAX_MS   2000

/* STREAM report flags */
#define FLAG_WIRED         0x01
#define FLAG_LINKED        0x02 /* slot held with the dongle */
#define FLAG_CAL_REFUSED   0x04 /* calibration save refused: keep going */

#define CAL_STATUS 0 /* CALIBRATE step: only report */

static atomic_t stream_period_ms; /* 0 = off */

static struct k_spinlock rumble_lock;
static uint8_t rumble_level[4];
static uint32_t rumble_left_ms;
static bool rumble_start; /* new test: levels in rumble_level */
static uint8_t motors_shown[4]; /* TX thread: last levels, for the stream */

/* STREAM: rate in Hz (0 = off) */
static int cmd_stream(const uint8_t *args)
{
	if (args[0] > STREAM_MAX_HZ) {
		return -EINVAL;
	}
	atomic_set(&stream_period_ms, args[0] ? 1000 / args[0] : 0);
	LOG_INF("stream %u Hz", args[0]);
	return 0;
}

/* RUMBLE: 4 levels (XBX_RUMBLE_*), duration ms (u16 LE; 0 stops) */
static int cmd_rumble(const uint8_t *args)
{
	uint16_t ms = sys_get_le16(&args[4]);
	k_spinlock_key_t key;

	if (ms > RUMBLE_MAX_MS) {
		return -EINVAL;
	}
	key = k_spin_lock(&rumble_lock);
	memcpy(rumble_level, args, sizeof(rumble_level));
	rumble_left_ms = ms;
	rumble_start = true;
	k_spin_unlock(&rumble_lock, key);
	return 0;
}

/*
 * CALIBRATE: step (0 status, enum input_cal_step), targets (start) →
 * state, targets, refused axes, stored axes, LT full pull %, then per axis
 * (calib_axis_id order) min, centre, max (i16 LE), then RT full pull %,
 * inverted stick axes
 */
static void cal_result_fill(uint8_t *result)
{
	struct input_raw raw;
	size_t n = 0;

	input_raw_get(&raw);
	result[n++] = raw.cal_state;
	result[n++] = raw.cal_targets;
	result[n++] = raw.cal_bad;
	result[n++] = raw.stored;
	result[n++] = raw.full_pct[0];
	for (int i = 0; i < CALIB_AXES; i++, n += 6) {
		sys_put_le16(raw.range[i].min, &result[n]);
		sys_put_le16(raw.range[i].center, &result[n + 2]);
		sys_put_le16(raw.range[i].max, &result[n + 4]);
	}
	result[n++] = raw.full_pct[1];
	result[n++] = raw.inverted;
	BUILD_ASSERT(5 + 6 * CALIB_AXES + 2 <= CFG_USB_DATA_SIZE);
}

static uint8_t *cal_result; /* the response waiting for the TX thread */

/* TX thread: the step was taken, its state is in input_raw_get() now */
static void cal_step_done(void)
{
	cal_result_fill(cal_result);
	config_usb_finish(0);
}

static int cmd_calibrate(const uint8_t *args, uint8_t *result)
{
	int err;

	if (args[0] == CAL_STATUS) {
		cal_result_fill(result);
		return 0;
	}
	cal_result = result;
	err = input_cal_request(args[0], args[1], cal_step_done);
	/* the response goes out once the TX thread took the step (next tick) */
	return err ? err : -EINPROGRESS;
}

static int command(uint8_t cmd, const uint8_t *args, uint8_t *result)
{
	switch (cmd) {
	case CFG_USB_CMD_STREAM:
		return cmd_stream(args);
	case CFG_USB_CMD_CALIBRATE:
		return cmd_calibrate(args, result);
	case CFG_USB_CMD_RUMBLE:
		return cmd_rumble(args);
	default:
		return -ENOTSUP;
	}
}

/* runs before the restart; flash writes are synchronous or queued ahead of it */
static int factory_reset(uint8_t scope)
{
	if (scope & CFG_USB_RESET_SETTINGS) {
		config_reset();
		config_flush();
		usb_mode_forget();
	}
	if (scope & CFG_USB_RESET_CALIBRATION) {
		calib_erase();
	}
	if (scope & CFG_USB_RESET_PAIRING) {
		pair_forget();
	}
	return 0;
}

static const uint8_t setting_ids[] = {CFG_SETTING_PADDLES, CFG_SETTING_BINDINGS,
				      CFG_SETTING_LED, CFG_SETTING_TRG_FULL,
				      CFG_SETTING_TRG_FX};

static const struct config_usb_app app = {
	.ids = setting_ids,
	.id_count = ARRAY_SIZE(setting_ids),
	.get = config_setting_get,
	.set = config_setting_set,
	.flush = config_flush,
	.factory_reset = factory_reset,
	.command = command,
};

int configurator_init(void)
{
	return config_usb_init(usb_mode_get(), &app);
}

/* STREAM report data: docs/configurator.md, "STREAM report" */
static void stream_send(const struct xbx_input_report *r, uint8_t flags)
{
	uint8_t d[CFG_USB_DATA_SIZE] = {0};
	struct input_raw raw;
	size_t n = 0;

	input_raw_get(&raw);

	sys_put_le16(r->buttons, &d[n]);
	n += 2;
	d[n++] = r->buttons_ext;
	sys_put_le16(r->lx, &d[n]);
	sys_put_le16(r->ly, &d[n + 2]);
	sys_put_le16(r->rx, &d[n + 4]);
	sys_put_le16(r->ry, &d[n + 6]);
	sys_put_le16(r->lt, &d[n + 8]);
	sys_put_le16(r->rt, &d[n + 10]);
	n += 12;
	for (int i = 0; i < CALIB_AXES; i++, n += 2) {
		sys_put_le16(raw.adc[i], &d[n]);
	}
	d[n++] = raw.cal_state;
	if (raw.cal_bad) {
		flags |= FLAG_CAL_REFUSED;
	}
	d[n++] = flags;
	sys_put_le16(battery_mv(), &d[n]);
	n += 2;
	d[n++] = r->battery;
	memcpy(&d[n], motors_shown, sizeof(motors_shown));
	n += sizeof(motors_shown);
	BUILD_ASSERT(2 + 1 + 12 + 2 * CALIB_AXES + 1 + 1 + 2 + 1 + 4 <= CFG_USB_DATA_SIZE);

	if (config_usb_stream(d, n) == -ENOTCONN) {
		atomic_set(&stream_period_ms, 0); /* host gone: stop until asked again */
	}
}

void configurator_tick(const struct xbx_input_report *report, bool wired, bool linked,
		       uint32_t elapsed_ms)
{
	static uint32_t since_ms;
	uint32_t period = atomic_get(&stream_period_ms);

	if (!period) {
		since_ms = 0;
		return;
	}
	since_ms += elapsed_ms;
	if (since_ms < period) {
		return;
	}
	since_ms = 0;
	stream_send(report, (wired ? FLAG_WIRED : 0) | (linked ? FLAG_LINKED : 0));
}

void configurator_rumble(uint8_t level[4], uint32_t elapsed_ms)
{
	static uint8_t test[4];
	static uint32_t left_ms;
	k_spinlock_key_t key = k_spin_lock(&rumble_lock);

	if (rumble_start) {
		rumble_start = false;
		memcpy(test, rumble_level, sizeof(test));
		left_ms = rumble_left_ms;
	}
	k_spin_unlock(&rumble_lock, key);

	if (left_ms) {
		left_ms = left_ms > elapsed_ms ? left_ms - elapsed_ms : 0;
		memcpy(level, test, sizeof(test));
	}
}

void configurator_motors_shown(const uint8_t level[4])
{
	memcpy(motors_shown, level, sizeof(motors_shown));
}
```

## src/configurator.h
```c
/*
 * The controller's part of the configurator channel (config_usb.h): settings,
 * STREAM (input test), CALIBRATE, RUMBLE (motor test), FACTORY_RESET.
 */

#ifndef XBX_CTRL_CONFIGURATOR_H_
#define XBX_CTRL_CONFIGURATOR_H_

#include <stdbool.h>
#include <stdint.h>

struct xbx_input_report;

/* Register the channel; call before usb_start(). */
int configurator_init(void);

/*
 * TX thread, every tick, after input_read() (before the XInput paddle
 * mapping): sends a STREAM report when one is due.
 */
void configurator_tick(const struct xbx_input_report *report, bool wired, bool linked,
		       uint32_t elapsed_ms);

/* TX thread: a running RUMBLE test replaces the motor levels (XBX_RUMBLE_*). */
void configurator_rumble(uint8_t level[4], uint32_t elapsed_ms);

/* TX thread: the levels the motors get, for the stream. */
void configurator_motors_shown(const uint8_t level[4]);

#endif /* XBX_CTRL_CONFIGURATOR_H_ */
```

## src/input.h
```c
/*
 * Controller input: buttons on GPIOs and the PCAL6416 expander (controller
 * board); on the breadboard also the left stick on the SAADC and rumble shown
 * on two PWM LEDs. Pins: the board overlay's zephyr,user node.
 */

#ifndef XBX_CTRL_INPUT_H_
#define XBX_CTRL_INPUT_H_

#include <stdbool.h>
#include <stdint.h>

#include "calib.h"

struct xbx_input_report;

#define INPUT_PADDLES 4

/*
 * Paddles P1..P4 (left upper, left lower, right upper, right lower); stored
 * and defaulted (on, XInput A, B, X, Y) by config.c.
 */
struct input_paddle_config {
	bool enabled;                   /* off: ignored (none fitted) */
	uint16_t xinput[INPUT_PADDLES]; /* XBX_BTN_* each presses for XInput, 0 = none */
};

/*
 * Configure the pins and the expander; with a stick, enable VCC and calibrate
 * its centre (stick at rest).
 */
int input_init(void);

/* XBX_BTN_* bits held for the whole of ~20 ms; call after input_init(). */
uint16_t input_held_at_boot(void);

/*
 * Scan buttons, sticks and triggers into the report's input fields; call
 * once per report period, elapsed_ms its length (the debounce and the
 * calibration routine count in ms). The ADC scan runs asynchronously; the
 * thread sleeps until it's done. Expander buttons: input_prefetch()'s scan.
 */
void input_read(struct xbx_input_report *report, uint32_t elapsed_ms);

/*
 * Start the expander scan for the next input_read() (a tick ahead: the
 * I2C read is done by then). Call once per tick, after the report is sent.
 */
void input_prefetch(void);

/* VBAT's raw counts from the last scan (its channel: vbat); false: none yet. */
bool input_vbat_raw(int16_t *raw);

/*
 * Trigger supply on, for the next input_read() (its scan turns it off): the
 * A1304 needs ~70 µs to settle. ISR-safe: main.c's timer calls it.
 */
void input_trg_on(void);

/*
 * LT, RT from the last input_read() without the aux trigger switches (0..1023),
 * for the trigger effects: the switches click on their own. TX thread.
 */
void input_trigger_pulled(uint16_t out[2]);

void input_paddle_config_set(const struct input_paddle_config *cfg);

/*
 * Trigger full pull threshold: LT, RT report full from this % of their
 * calibrated travel (uncalibrated triggers: their full range).
 */
#define INPUT_TRG_FULL_MIN     5 /* hair trigger */
#define INPUT_TRG_FULL_DEFAULT 95
void input_trigger_full_set(const uint8_t pct[2]);

/*
 * XInput has no paddle bits: OR each held paddle's mapped buttons into
 * report->buttons. Call after input_read() when the host is XInput.
 */
void input_paddles_to_xinput(struct xbx_input_report *report);

/* Rumble to LED brightness, 0..255 each. */
void input_set_rumble(uint8_t heavy, uint8_t weak);

/* Calibration routine state, for the configurator */
enum input_cal_state {
	INPUT_CAL_IDLE,
	INPUT_CAL_CENTRE, /* measuring the centres, sticks at rest */
	INPUT_CAL_SWEEP,  /* collecting the range */
	INPUT_CAL_DONE,   /* saved */
};

/* Calibration targets */
#define INPUT_CAL_STICKS   0x01
#define INPUT_CAL_TRIGGERS 0x02

/* Raw values behind the last report (configurator input test, calibration). */
struct input_raw {
	int16_t adc[CALIB_AXES]; /* last sample, counts (sticks: of their supply) */
	struct {
		int16_t min, center, max; /* triggers: centre = rest */
	} range[CALIB_AXES];     /* in use, or seen so far while calibrating; counts */
	uint8_t cal_state;       /* enum input_cal_state */
	uint8_t cal_targets;     /* INPUT_CAL_STICKS / _TRIGGERS being calibrated */
	uint8_t cal_bad;         /* axes the last save refused (bit per calib_axis_id) */
	uint8_t stored;          /* calibrated axes in flash (bit per calib_axis_id) */
	uint8_t full_pct[2];     /* trigger full pull thresholds, % of the travel */
	uint8_t inverted;        /* stick axes reported against their counts (bits) */
};

/* input_read()'s state: from another thread, values may be a tick apart. */
void input_raw_get(struct input_raw *out);

/* Calibration steps from the configurator */
enum input_cal_step {
	INPUT_CAL_START = 1, /* sticks at rest: measure the centres, then sweep */
	INPUT_CAL_SAVE,      /* store the swept range */
	INPUT_CAL_CANCEL,
	INPUT_CAL_ERASE,     /* back to auto-ranging */
};

/* The TX thread took a calibration request (its state is current now). */
typedef void (*input_cal_done_t)(void);

/*
 * Run a step on the next input_read(), as the button combos do, then call
 * done from the TX thread. targets (start only): INPUT_CAL_STICKS /
 * _TRIGGERS, 0 = all there are. -EBUSY: not in this step's state; -EINVAL:
 * unknown step or target; -ENOTSUP: no sticks, or no analog triggers to
 * calibrate (done isn't called then).
 */
int input_cal_request(uint8_t step, uint8_t targets, input_cal_done_t done);

#endif /* XBX_CTRL_INPUT_H_ */
```
